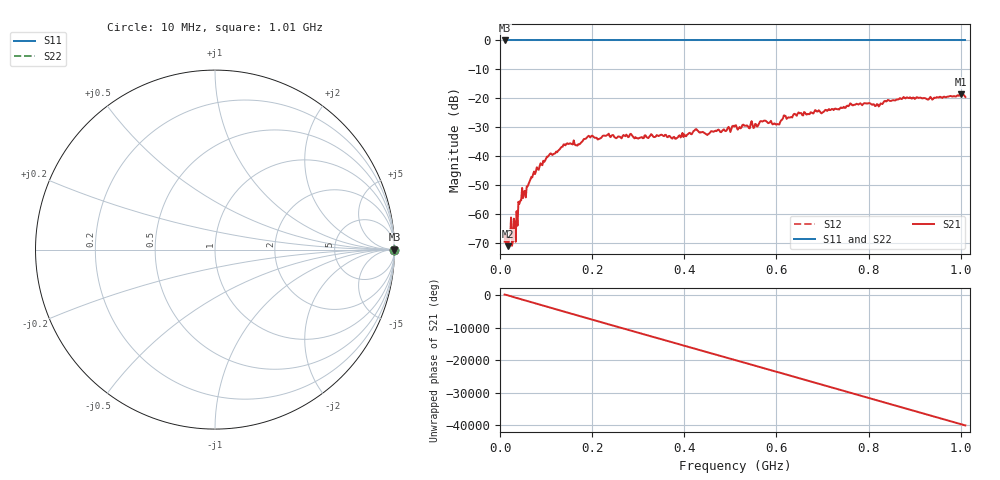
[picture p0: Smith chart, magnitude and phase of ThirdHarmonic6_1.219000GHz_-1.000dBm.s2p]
! 8/16/2025 12:46:39 PM
! C:\ANRITSUVNA\TEMP\TEMP.S2P
! CHANNEL.1
! TR.MEASUREMENT
! RAW.DATA
! RF.CORRECTION.OFF
! AVERAGING.OFF
! IF.BANDWIDTH: 5KHZ
! SWEEPTYPE:  FREQ.SWEEP(Linear)
! Reference Plane Port Info
! PORT:  PORT1  PORT2
! DISTANCE:  0  m  0  m
! TIME:  0  s  0  s
! PHASE.OFFSET:  0  deg.  0  deg.
! LOSS:  0  dB  0  dB
! REF.LOSS:  0  dB  0  dB
! REF.FREQ:  0  Hz  0  Hz
! Power Info
! POWER:  -20  dBm  -20  dBm
! EFF.POWER:  -20  dBm  -20  dBm
! SOURCE.ATTEN:  0  dB  0  dB
! TEST.ATTEN:  0  dB  0  dB
# GHZ S RI R 50.0
! FREQ.GHZ  S11RE  S11IM  S21RE  S21IM  S12RE  S12IM  S22RE  S22IM
!; PortSelection: Port_12
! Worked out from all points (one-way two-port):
!   501 points, 10 MHz to 1.01 GHz, reference 50 ohm
!   highest |S21| = -18.68 dB at 1 GHz (marker M1); lowest = -71.2 dB at 18 MHz (marker M2)
!   lowest |S11| = 0.0 dB at 10 MHz (marker M3)
!   |S11| at or under -10 dB: nowhere
!   |S22| runs from 0.0 to 0.0 dB; largest |S21 - S12| = 1.1
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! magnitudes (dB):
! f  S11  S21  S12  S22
! 10 MHz  0.0  -69.7  0.0  0.0
! 18 MHz  0.0  -71.2  0.0  0.0
! 28 MHz  0.0  -69.6  0.0  0.0
! 30 MHz  0.0  -61.7  0.0  0.0
! 44 MHz  0.0  -55.5  0.0  0.0
! 76 MHz  0.0  -46.3  0.0  0.0
! 136 MHz  0.0  -36.8  0.0  0.0
! 178 MHz  0.0  -35.1  0.0  0.0
! 196 MHz  0.0  -33.6  0.0  0.0
! 344 MHz  0.0  -33.1  0.0  0.0
! 382 MHz  0.0  -34.0  0.0  0.0
! 424 MHz  0.0  -30.8  0.0  0.0
! 450 MHz  0.0  -32.8  0.0  0.0
! 510 MHz  0.0  -29.5  0.0  0.0
! 554 MHz  0.0  -28.9  0.0  0.0
! 572 MHz  0.0  -27.8  0.0  0.0
! 602 MHz  0.0  -28.9  0.0  0.0
! 616 MHz  0.0  -26.0  0.0  0.0
! 678 MHz  0.0  -25.2  0.0  0.0
! 844 MHz  0.0  -20.7  0.0  0.0
! 1 GHz  0.0  -18.7  0.0  0.0
! 1.01 GHz  0.0  -19.6  0.0  0.0
